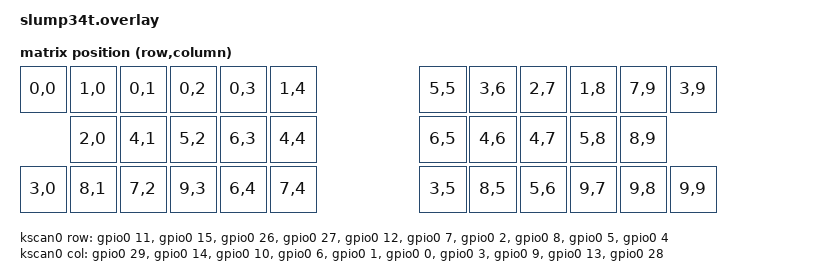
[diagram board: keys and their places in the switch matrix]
/*
 * Copyright (c) 2020 The ZMK Contributors
 *
 * SPDX-License-Identifier: MIT
 */

#include <dt-bindings/zmk/matrix_transform.h>
#include <physical_layouts.dtsi>
#include "slump34t-layouts.dtsi"

/ {
    kscan0: kscan0 {
        compatible = "zmk,kscan-gpio-matrix";
        diode-direction = "col2row";
        wakeup-source;

        /* Can't use &pico_header 29 as not defined */
        col-gpios
            = <&gpio0 29 GPIO_OPEN_SOURCE>
            , <&gpio0 14 GPIO_OPEN_SOURCE>
            , <&gpio0 10 GPIO_OPEN_SOURCE>
            , <&gpio0 6 GPIO_OPEN_SOURCE>
            , <&gpio0 1 GPIO_OPEN_SOURCE>
            , <&gpio0 0 GPIO_OPEN_SOURCE>
            , <&gpio0 3 GPIO_OPEN_SOURCE>
            , <&gpio0 9 GPIO_OPEN_SOURCE>
            , <&gpio0 13 GPIO_OPEN_SOURCE>
            , <&gpio0 28 GPIO_OPEN_SOURCE>
            ;

        row-gpios
            = <&gpio0 11 (GPIO_ACTIVE_HIGH | GPIO_PULL_DOWN)>
            , <&gpio0 15 (GPIO_ACTIVE_HIGH | GPIO_PULL_DOWN)>
            , <&gpio0 26 (GPIO_ACTIVE_HIGH | GPIO_PULL_DOWN)>
            , <&gpio0 27 (GPIO_ACTIVE_HIGH | GPIO_PULL_DOWN)>
            , <&gpio0 12 (GPIO_ACTIVE_HIGH | GPIO_PULL_DOWN)>
            , <&gpio0 7 (GPIO_ACTIVE_HIGH | GPIO_PULL_DOWN)>
            , <&gpio0 2 (GPIO_ACTIVE_HIGH | GPIO_PULL_DOWN)>
            , <&gpio0 8 (GPIO_ACTIVE_HIGH | GPIO_PULL_DOWN)>
            , <&gpio0 5 (GPIO_ACTIVE_HIGH | GPIO_PULL_DOWN)>
            , <&gpio0 4 (GPIO_ACTIVE_HIGH | GPIO_PULL_DOWN)>
            ;
    };
};

/*
 * Same logical rows as used in the DTSI file:
 *
 * Esc 	Q 	W 	E 	R 	T 	-----	-----	Y 	U 	I 	O 	P 	BkSp
 * ---	A 	S 	D 	F 	G 	-----	-----	H 	J 	K 	L 	; 	----
 * ---	Z 	X 	C 	V 	B 	Shift	Space	N 	M 	, 	. 	/ 	----
 *
 */

/ {
    default_transform: keymap_transform0 {
        compatible = "zmk,matrix-transform";
        columns = <13>;
        rows = <13>;
        map = <
            RC(0,0) RC(1,0) RC(0,1) RC(0,2) RC(0,3) RC(1,4)                 RC(5,5)  RC(3,6)  RC(2,7)  RC(1,8)  RC(7,9) RC(3,9)
                    RC(2,0) RC(4,1) RC(5,2) RC(6,3) RC(4,4)                 RC(6,5)  RC(4,6)  RC(4,7)  RC(5,8)  RC(8,9)
                    RC(3,0) RC(8,1) RC(7,2) RC(9,3) RC(6,4) RC(7,4) RC(3,5) RC(8,5)  RC(5,6)  RC(9,7)  RC(9,8)  RC(9,9)
        >;
    };
};

/ {
    physical_layout0: physical_layout_0 { // First physical layout, use different naming for other layouts
        compatible = "zmk,physical-layout";
        display-name = "Default Layout";
        kscan = <&kscan0>; // Label of the kscan node, optional if all layouts use the same
        transform = <&default_transform>; // Label of the matrix transform for this layout
    };
};

/ {
    chosen {
        zmk,physical-layout = &physical_layout0;
        // Other chosen items
    };
};

